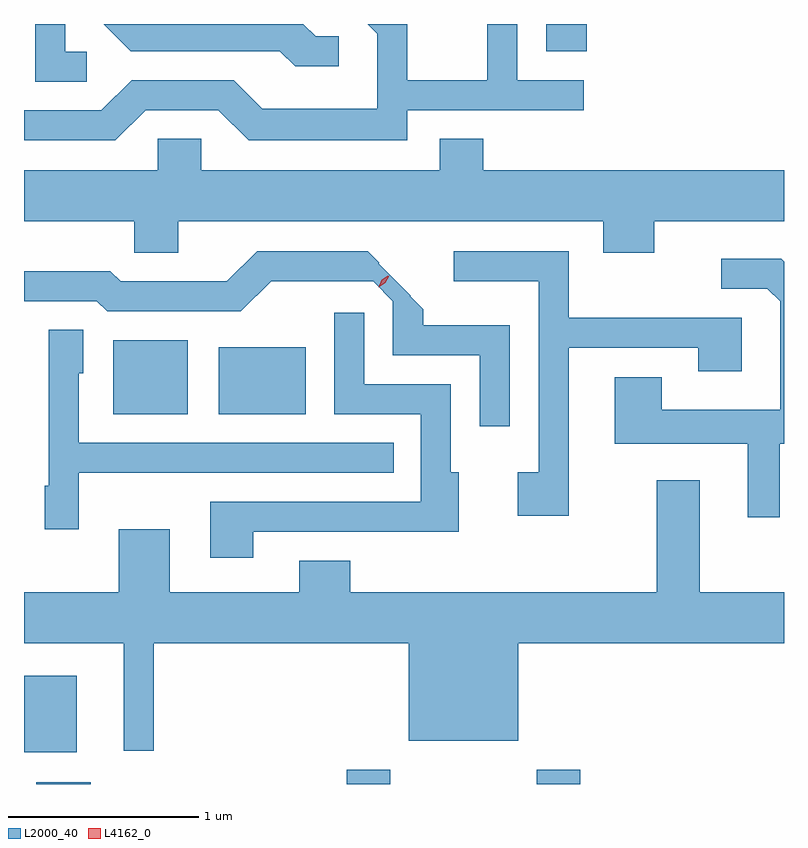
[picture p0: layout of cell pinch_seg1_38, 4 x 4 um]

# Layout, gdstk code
import gdstk
lib = gdstk.Library(unit=1e-6, precision=1e-09)
def R(c, l, rs):  # rectangles x0, y0, x1, y1
    for r in rs: c.add(gdstk.rectangle(r[:2], r[2:], *l))
def P(c, l, *ps):  # polygons
    for p in ps: c.add(gdstk.Polygon(p, *l))
L2000_40 = (2000, 40)
L4162_0 = (4162, 0)

pinch_seg1_38 = lib.new_cell('pinch_seg1_38')
R(pinch_seg1_38, L2000_40, [(1280.046,969.874,1280.334,969.884), (1281.681,969.874,1281.909,969.949), (1282.681,969.874,1282.909,969.949), (1279.982,970.041,1280.259,970.444), (1280.451,971.821,1280.844,972.209), (1281.006,971.821,1281.464,972.174), (1282.731,973.731,1282.944,973.874)])
P(pinch_seg1_38, L2000_40, [(1280.622,973.421),(1281.004,973.421),(1281.164,973.261),(1281.999,973.261),(1281.999,973.421),(1282.928,973.421),(1282.928,973.579),(1282.579,973.579),(1282.579,973.874),(1282.421,973.874),(1282.421,973.579),(1281.999,973.579),(1281.999,973.874),(1281.791,973.874),(1281.841,973.824),(1281.841,973.429),(1281.237,973.429),(1281.087,973.579),(1280.549,973.579),(1280.389,973.419),(1279.982,973.419),(1279.982,973.261),(1280.462,973.261)],
  [(1280.313,973.729),(1280.199,973.729),(1280.199,973.874),(1280.041,973.874),(1280.041,973.571),(1280.313,973.571)],
  [(1281.638,973.809),(1281.517,973.809),(1281.452,973.874),(1280.401,973.874),(1280.544,973.731),(1281.329,973.731),(1281.409,973.651),(1281.638,973.651)],
  [(1280.794,972.836),(1283.031,972.836),(1283.031,972.671),(1283.299,972.671),(1283.299,972.836),(1283.982,972.836),(1283.982,973.104),(1282.399,973.104),(1282.399,973.269),(1282.171,973.269),(1282.171,973.104),(1280.914,973.104),(1280.914,973.269),(1280.686,973.269),(1280.686,973.104),(1279.982,973.104),(1279.982,972.836),(1280.561,972.836),(1280.561,972.671),(1280.794,972.671)],
  [(1282.849,972.171),(1283.531,972.171),(1283.531,972.046),(1283.759,972.046),(1283.759,972.329),(1282.849,972.329),(1282.849,972.679),(1282.243,972.679),(1282.243,972.521),(1282.691,972.521),(1282.691,971.514),(1282.581,971.514),(1282.581,971.286),(1282.849,971.286)],
  [(1282.539,972.289),(1282.084,972.289),(1282.084,972.372),(1282.015,972.441),(1282.017,972.443),(1281.848,972.612),(1281.852,972.617),(1281.79,972.679),(1281.209,972.679),(1281.049,972.519),(1280.492,972.519),(1280.437,972.574),(1279.982,972.574),(1279.982,972.416),(1280.364,972.416),(1280.419,972.361),(1281.122,972.361),(1281.282,972.521),(1281.715,972.521),(1281.715,972.519),(1281.821,972.519),(1281.924,972.416),(1281.924,972.131),(1282.381,972.131),(1282.381,971.758),(1282.539,971.758)],
  [(1283.959,971.666),(1283.982,971.666),(1283.982,972.624),(1283.967,972.639),(1283.653,972.639),(1283.653,972.481),(1283.894,972.481),(1283.961,972.414),(1283.961,971.844),(1283.339,971.844),(1283.339,972.014),(1283.091,972.014),(1283.091,971.666),(1283.791,971.666),(1283.791,971.278),(1283.959,971.278)],
  [(1281.189,971.201),(1282.269,971.201),(1282.269,971.514),(1282.229,971.514),(1282.229,971.979),(1281.774,971.979),(1281.774,972.353),(1281.616,972.353),(1281.616,971.821),(1282.071,971.821),(1282.071,971.359),(1280.961,971.359),(1280.961,971.066),(1281.189,971.066)],
  [(1280.269,971.511),(1281.928,971.511),(1281.928,971.669),(1280.269,971.669),(1280.269,972.036),(1280.294,972.036),(1280.294,972.264),(1280.111,972.264),(1280.111,971.444),(1280.091,971.444),(1280.091,971.216),(1280.269,971.216)],
  [(1280.664,970.616),(1282.006,970.616),(1282.006,970.101),(1282.584,970.101),(1282.584,970.616),(1283.982,970.616),(1283.982,970.884),(1283.539,970.884),(1283.539,971.474),(1283.311,971.474),(1283.311,970.884),(1281.699,970.884),(1281.699,971.049),(1281.431,971.049),(1281.431,970.884),(1280.749,970.884),(1280.749,971.214),(1280.481,971.214),(1280.481,970.884),(1279.982,970.884),(1279.982,970.616),(1280.506,970.616),(1280.506,970.048),(1280.664,970.048)])
P(pinch_seg1_38, L4162_0, [(1281.848,972.489),(1281.848,972.49),(1281.869,972.527),(1281.904,972.55),(1281.904,972.55),(1281.904,972.55),(1281.884,972.513),(1281.849,972.489)],
  [(1281.852,972.495),(1281.852,972.496),(1281.866,972.528),(1281.896,972.549),(1281.896,972.549),(1281.896,972.548),(1281.882,972.515),(1281.852,972.495)])

lib.write_gds('pinch_seg1_38.gds')
